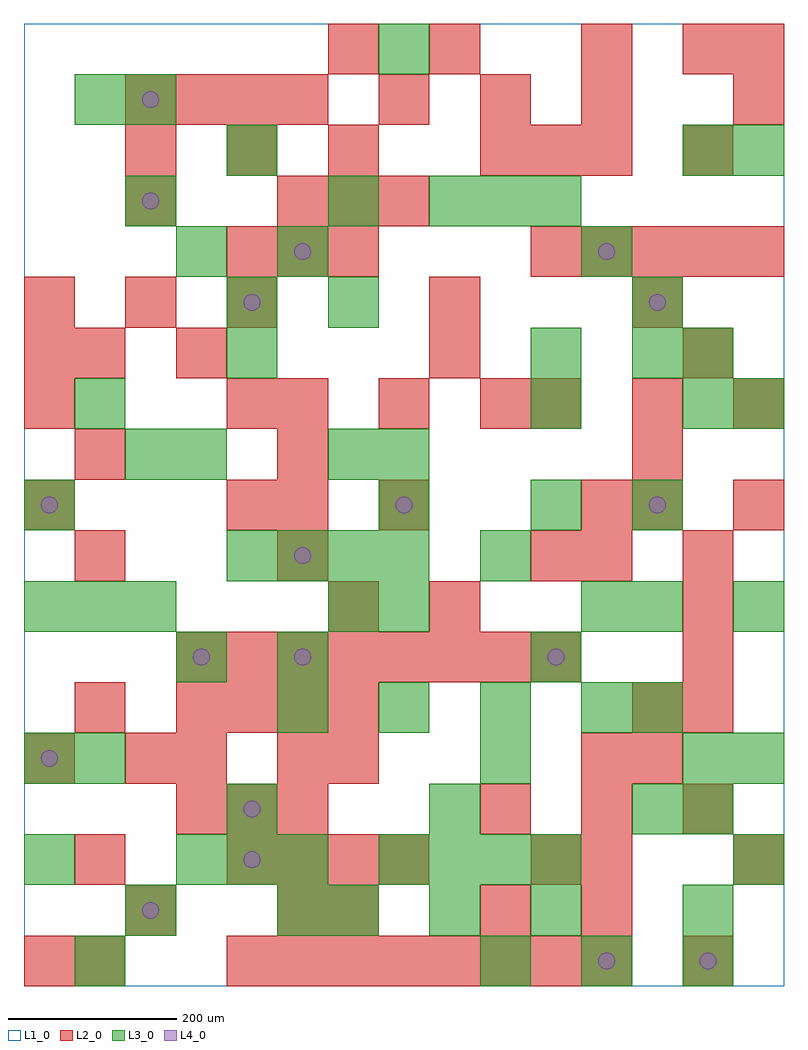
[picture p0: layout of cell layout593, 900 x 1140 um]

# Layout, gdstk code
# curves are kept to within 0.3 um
import gdstk
lib = gdstk.Library(unit=1e-6, precision=1e-09)
def R(c, l, rs):  # rectangles x0, y0, x1, y1
    for r in rs: c.add(gdstk.rectangle(r[:2], r[2:], *l))
def A(c, l, x, y, w, h, nx, ny, dx, dy):  # array of equal rectangles
    R(c, l, [(x+i*dx, y+j*dy, x+i*dx+w, y+j*dy+h) for i in range(nx) for j in range(ny)])
def P(c, l, *ps):  # polygons
    for p in ps: c.add(gdstk.Polygon(p, *l))
L1_0 = (1, 0)
L2_0 = (2, 0)
L3_0 = (3, 0)
L4_0 = (4, 0)

layout593 = lib.new_cell('layout593')
R(layout593, L1_0, [(0,0,900,1140)])
A(layout593, L2_0, 240, 0, 60, 60, 8, 1, 60, 0)
A(layout593, L2_0, 360, 60, 60, 60, 1, 3, 0, 180)
A(layout593, L2_0, 60, 120, 60, 60, 1, 3, 0, 180)
A(layout593, L2_0, 240, 120, 60, 60, 4, 1, 60, 0)
A(layout593, L2_0, 180, 180, 60, 60, 3, 1, 60, 0)
A(layout593, L2_0, 540, 180, 60, 60, 3, 1, 120, 0)
A(layout593, L2_0, 180, 300, 60, 60, 4, 1, 60, 0)
A(layout593, L2_0, 780, 300, 60, 60, 1, 4, 0, 60)
A(layout593, L2_0, 180, 360, 60, 60, 8, 1, 60, 0)
A(layout593, L2_0, 300, 480, 60, 60, 1, 3, 0, 60)
A(layout593, L2_0, 300, 660, 60, 60, 3, 1, 120, 0)
A(layout593, L2_0, 600, 660, 60, 60, 3, 1, 120, 0)
A(layout593, L2_0, 180, 720, 60, 60, 3, 1, 300, 0)
A(layout593, L2_0, 0, 780, 60, 60, 3, 1, 120, 0)
A(layout593, L2_0, 240, 840, 60, 60, 3, 1, 60, 0)
A(layout593, L2_0, 600, 840, 60, 60, 5, 1, 60, 0)
A(layout593, L2_0, 300, 900, 60, 60, 3, 1, 60, 0)
A(layout593, L2_0, 120, 960, 60, 60, 3, 1, 120, 0)
A(layout593, L2_0, 540, 960, 60, 60, 3, 1, 60, 0)
A(layout593, L2_0, 120, 1020, 60, 60, 4, 1, 60, 0)
A(layout593, L2_0, 420, 1020, 60, 60, 3, 1, 120, 0)
R(layout593, L2_0, [(0,0,60,60), (60,0,120,60), (780,0,840,60), (120,60,180,120), (300,60,360,120), (540,60,600,120), (660,60,720,120), (600,120,660,180), (660,120,720,180), (840,120,900,180), (0,240,60,300), (120,240,180,300), (180,240,240,300), (300,240,360,300), (660,240,720,300), (720,240,780,300), (720,300,780,360), (480,420,540,480), (600,480,660,540), (660,480,720,540), (0,540,60,600), (240,540,300,600), (420,540,480,600), (660,540,720,600), (720,540,780,600), (840,540,900,600), (60,600,120,660), (720,600,780,660), (0,660,60,720), (240,660,300,720), (0,720,60,780), (60,720,120,780), (480,780,540,840), (720,780,780,840), (120,900,180,960), (780,960,840,1020), (840,1020,900,1080), (360,1080,420,1140), (480,1080,540,1140), (660,1080,720,1140), (780,1080,840,1140), (840,1080,900,1140)])
A(layout593, L3_0, 540, 0, 60, 60, 3, 1, 120, 0)
A(layout593, L3_0, 360, 60, 60, 60, 3, 1, 120, 0)
A(layout593, L3_0, 180, 120, 60, 60, 3, 1, 60, 0)
A(layout593, L3_0, 420, 120, 60, 60, 4, 1, 60, 0)
A(layout593, L3_0, 240, 180, 60, 60, 3, 1, 240, 0)
A(layout593, L3_0, 300, 300, 60, 60, 4, 1, 120, 0)
A(layout593, L3_0, 720, 300, 60, 60, 1, 3, 0, 120)
A(layout593, L3_0, 180, 360, 60, 60, 1, 3, 0, 240)
A(layout593, L3_0, 0, 420, 60, 60, 3, 1, 60, 0)
A(layout593, L3_0, 360, 420, 60, 60, 1, 3, 0, 180)
A(layout593, L3_0, 240, 480, 60, 60, 4, 1, 60, 0)
A(layout593, L3_0, 480, 900, 60, 60, 3, 1, 60, 0)
R(layout593, L3_0, [(60,0,120,60), (120,60,180,120), (300,60,360,120), (780,60,840,120), (0,120,60,180), (840,120,900,180), (780,180,840,240), (0,240,60,300), (60,240,120,300), (540,240,600,300), (780,240,840,300), (840,240,900,300), (300,360,360,420), (600,360,660,420), (420,420,480,480), (660,420,720,480), (840,420,900,480), (540,480,600,540), (0,540,60,600), (420,540,480,600), (600,540,660,600), (120,600,180,660), (420,600,480,660), (60,660,120,720), (600,660,660,720), (780,660,840,720), (840,660,900,720), (240,720,300,780), (600,720,660,780), (720,720,780,780), (780,720,840,780), (240,780,300,840), (720,780,780,840), (300,840,360,900), (660,840,720,900), (120,900,180,960), (360,900,420,960), (240,960,300,1020), (780,960,840,1020), (840,960,900,1020), (60,1020,120,1080), (120,1020,180,1080), (420,1080,480,1140)])
P(layout593, L4_0, [(40,270),(39.239,273.827),(37.071,277.071),(33.827,279.239),(30,280),(26.173,279.239),(22.929,277.071),(20.761,273.827),(20,270),(20.761,266.173),(22.929,262.929),(26.173,260.761),(30,260),(33.827,260.761),(37.071,262.929),(39.239,266.173)],
  [(40,570),(39.239,573.827),(37.071,577.071),(33.827,579.239),(30,580),(26.173,579.239),(22.929,577.071),(20.761,573.827),(20,570),(20.761,566.173),(22.929,562.929),(26.173,560.761),(30,560),(33.827,560.761),(37.071,562.929),(39.239,566.173)],
  [(160,90),(159.239,93.827),(157.071,97.071),(153.827,99.239),(150,100),(146.173,99.239),(142.929,97.071),(140.761,93.827),(140,90),(140.761,86.173),(142.929,82.929),(146.173,80.761),(150,80),(153.827,80.761),(157.071,82.929),(159.239,86.173)],
  [(160,930),(159.239,933.827),(157.071,937.071),(153.827,939.239),(150,940),(146.173,939.239),(142.929,937.071),(140.761,933.827),(140,930),(140.761,926.173),(142.929,922.929),(146.173,920.761),(150,920),(153.827,920.761),(157.071,922.929),(159.239,926.173)],
  [(160,1050),(159.239,1053.827),(157.071,1057.071),(153.827,1059.239),(150,1060),(146.173,1059.239),(142.929,1057.071),(140.761,1053.827),(140,1050),(140.761,1046.173),(142.929,1042.929),(146.173,1040.761),(150,1040),(153.827,1040.761),(157.071,1042.929),(159.239,1046.173)],
  [(220,390),(219.239,393.827),(217.071,397.071),(213.827,399.239),(210,400),(206.173,399.239),(202.929,397.071),(200.761,393.827),(200,390),(200.761,386.173),(202.929,382.929),(206.173,380.761),(210,380),(213.827,380.761),(217.071,382.929),(219.239,386.173)],
  [(280,150),(279.239,153.827),(277.071,157.071),(273.827,159.239),(270,160),(266.173,159.239),(262.929,157.071),(260.761,153.827),(260,150),(260.761,146.173),(262.929,142.929),(266.173,140.761),(270,140),(273.827,140.761),(277.071,142.929),(279.239,146.173)],
  [(280,210),(279.239,213.827),(277.071,217.071),(273.827,219.239),(270,220),(266.173,219.239),(262.929,217.071),(260.761,213.827),(260,210),(260.761,206.173),(262.929,202.929),(266.173,200.761),(270,200),(273.827,200.761),(277.071,202.929),(279.239,206.173)],
  [(280,810),(279.239,813.827),(277.071,817.071),(273.827,819.239),(270,820),(266.173,819.239),(262.929,817.071),(260.761,813.827),(260,810),(260.761,806.173),(262.929,802.929),(266.173,800.761),(270,800),(273.827,800.761),(277.071,802.929),(279.239,806.173)],
  [(340,390),(339.239,393.827),(337.071,397.071),(333.827,399.239),(330,400),(326.173,399.239),(322.929,397.071),(320.761,393.827),(320,390),(320.761,386.173),(322.929,382.929),(326.173,380.761),(330,380),(333.827,380.761),(337.071,382.929),(339.239,386.173)],
  [(340,510),(339.239,513.827),(337.071,517.071),(333.827,519.239),(330,520),(326.173,519.239),(322.929,517.071),(320.761,513.827),(320,510),(320.761,506.173),(322.929,502.929),(326.173,500.761),(330,500),(333.827,500.761),(337.071,502.929),(339.239,506.173)],
  [(340,870),(339.239,873.827),(337.071,877.071),(333.827,879.239),(330,880),(326.173,879.239),(322.929,877.071),(320.761,873.827),(320,870),(320.761,866.173),(322.929,862.929),(326.173,860.761),(330,860),(333.827,860.761),(337.071,862.929),(339.239,866.173)],
  [(460,570),(459.239,573.827),(457.071,577.071),(453.827,579.239),(450,580),(446.173,579.239),(442.929,577.071),(440.761,573.827),(440,570),(440.761,566.173),(442.929,562.929),(446.173,560.761),(450,560),(453.827,560.761),(457.071,562.929),(459.239,566.173)],
  [(640,390),(639.239,393.827),(637.071,397.071),(633.827,399.239),(630,400),(626.173,399.239),(622.929,397.071),(620.761,393.827),(620,390),(620.761,386.173),(622.929,382.929),(626.173,380.761),(630,380),(633.827,380.761),(637.071,382.929),(639.239,386.173)],
  [(700,30),(699.239,33.827),(697.071,37.071),(693.827,39.239),(690,40),(686.173,39.239),(682.929,37.071),(680.761,33.827),(680,30),(680.761,26.173),(682.929,22.929),(686.173,20.761),(690,20),(693.827,20.761),(697.071,22.929),(699.239,26.173)],
  [(700,870),(699.239,873.827),(697.071,877.071),(693.827,879.239),(690,880),(686.173,879.239),(682.929,877.071),(680.761,873.827),(680,870),(680.761,866.173),(682.929,862.929),(686.173,860.761),(690,860),(693.827,860.761),(697.071,862.929),(699.239,866.173)],
  [(760,570),(759.239,573.827),(757.071,577.071),(753.827,579.239),(750,580),(746.173,579.239),(742.929,577.071),(740.761,573.827),(740,570),(740.761,566.173),(742.929,562.929),(746.173,560.761),(750,560),(753.827,560.761),(757.071,562.929),(759.239,566.173)],
  [(760,810),(759.239,813.827),(757.071,817.071),(753.827,819.239),(750,820),(746.173,819.239),(742.929,817.071),(740.761,813.827),(740,810),(740.761,806.173),(742.929,802.929),(746.173,800.761),(750,800),(753.827,800.761),(757.071,802.929),(759.239,806.173)],
  [(820,30),(819.239,33.827),(817.071,37.071),(813.827,39.239),(810,40),(806.173,39.239),(802.929,37.071),(800.761,33.827),(800,30),(800.761,26.173),(802.929,22.929),(806.173,20.761),(810,20),(813.827,20.761),(817.071,22.929),(819.239,26.173)])

lib.write_gds('layout593.gds')
